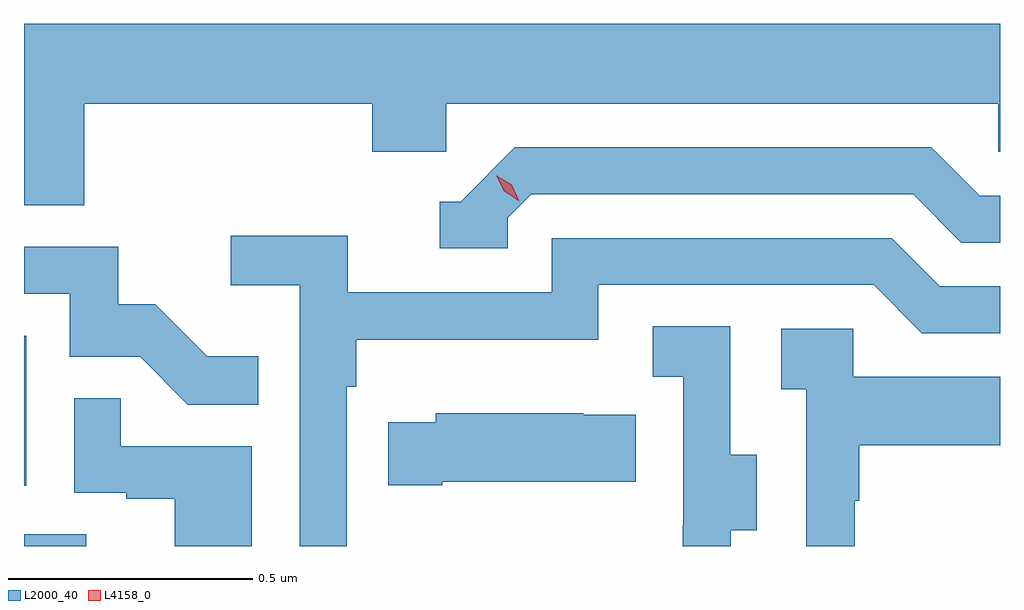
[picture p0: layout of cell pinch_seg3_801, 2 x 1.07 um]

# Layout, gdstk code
import gdstk
lib = gdstk.Library(unit=1e-6, precision=1e-09)
def R(c, l, rs):  # rectangles x0, y0, x1, y1
    for r in rs: c.add(gdstk.rectangle(r[:2], r[2:], *l))
def P(c, l, *ps):  # polygons
    for p in ps: c.add(gdstk.Polygon(p, *l))
L2000_40 = (2000, 40)
L4158_0 = (4158, 0)

pinch_seg3_801 = lib.new_cell('pinch_seg3_801')
R(pinch_seg3_801, L2000_40, [(813.053,721.322,813.181,721.346), (813.053,721.446,813.058,721.753)])
P(pinch_seg3_801, L2000_40, [(813.176,722.228),(813.767,722.228),(813.767,722.13),(813.918,722.13),(813.918,722.228),(815.049,722.228),(815.049,722.13),(815.053,722.13),(815.053,722.392),(813.053,722.392),(813.053,722.02),(813.176,722.02)],
  [(814.044,721.995),(814.092,722.043),(814.875,722.043),(814.974,721.944),(815.053,721.944),(815.053,722.04),(815.011,722.04),(814.912,722.139),(814.059,722.139),(813.948,722.028),(813.905,722.028),(813.905,721.932),(814.044,721.932)],
  [(813.714,721.649),(813.734,721.649),(813.734,721.745),(814.23,721.745),(814.23,721.857),(814.794,721.857),(814.893,721.758),(815.053,721.758),(815.053,721.854),(814.93,721.854),(814.831,721.953),(814.134,721.953),(814.134,721.842),(813.716,721.842),(813.716,721.958),(813.477,721.958),(813.477,721.856),(813.618,721.856),(813.618,721.322),(813.714,721.322)],
  [(813.533,721.711),(813.429,721.711),(813.322,721.818),(813.246,721.818),(813.246,721.935),(813.053,721.935),(813.053,721.839),(813.147,721.839),(813.147,721.71),(813.291,721.71),(813.389,721.612),(813.533,721.612)],
  [(814.501,721.354),(814.555,721.354),(814.555,721.509),(814.5,721.509),(814.5,721.772),(814.341,721.772),(814.341,721.669),(814.404,721.669),(814.404,721.365),(814.403,721.365),(814.403,721.322),(814.501,721.322)],
  [(814.755,721.415),(814.765,721.415),(814.765,721.529),(815.053,721.529),(815.053,721.669),(814.752,721.669),(814.752,721.767),(814.605,721.767),(814.605,721.643),(814.656,721.643),(814.656,721.322),(814.755,721.322)],
  [(813.52,721.527),(813.251,721.527),(813.251,721.625),(813.156,721.625),(813.156,721.431),(813.263,721.431),(813.263,721.419),(813.362,721.419),(813.362,721.322),(813.52,721.322)],
  [(813.91,721.454),(814.307,721.454),(814.307,721.591),(814.199,721.591),(814.199,721.594),(813.897,721.594),(813.897,721.576),(813.799,721.576),(813.799,721.447),(813.91,721.447)])
P(pinch_seg3_801, L4158_0, [(814.068,722.029),(814.037,722.049),(814.021,722.081),(814.021,722.081),(814.022,722.081),(814.052,722.062),(814.068,722.029),(814.068,722.029)])

lib.write_gds('pinch_seg3_801.gds')
